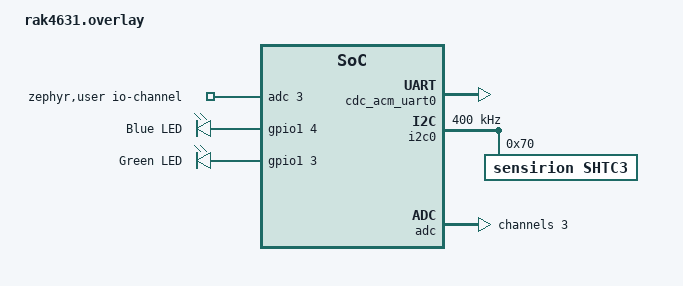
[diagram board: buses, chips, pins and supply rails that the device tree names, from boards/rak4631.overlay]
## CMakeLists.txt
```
# SPDX-License-Identifier: Apache-2.0

cmake_minimum_required(VERSION 3.20.0)

find_package(Zephyr REQUIRED HINTS $ENV{ZEPHYR_BASE})
project(lorawan_otaa)

target_sources(app PRIVATE src/main.c
                           src/rak_adc.c
                           src/rak_lorawan.c)
target_sources_ifdef(CONFIG_BT_PERIPHERAL app PRIVATE src/rak_ble_peripheral.c)
target_sources_ifdef(CONFIG_BOARD_RAK3172 app PRIVATE src/rak_lp_console.c)
if(CONFIG_USE_SEGGER_RTT AND CONFIG_BOARD_RAK11720)
  target_sources(app PRIVATE src/rtt.c)
endif()

zephyr_include_directories(
    src
)
```

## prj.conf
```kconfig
CONFIG_GPIO=y
CONFIG_SPI=y
CONFIG_ADC=y
CONFIG_I2C=y
CONFIG_SENSOR=y
CONFIG_JSON_LIBRARY=y

CONFIG_MAIN_STACK_SIZE=2048
CONFIG_SYSTEM_WORKQUEUE_STACK_SIZE=2048
CONFIG_CBPRINTF_FP_SUPPORT=y
CONFIG_STDOUT_CONSOLE=y

# Lora
CONFIG_LORA=y
CONFIG_LORAWAN=y
# Select your region
# CONFIG_LORAMAC_REGION_AS923=y
# CONFIG_LORAMAC_REGION_AU915=y
# CONFIG_LORAMAC_REGION_CN470=y
# CONFIG_LORAMAC_REGION_CN779=y
# CONFIG_LORAMAC_REGION_EU433=y
# CONFIG_LORAMAC_REGION_KR920=y
# CONFIG_LORAMAC_REGION_IN865=y
# CONFIG_LORAMAC_REGION_RU864=y
# CONFIG_LORAMAC_REGION_US915=y
CONFIG_LORAMAC_REGION_EU868=y
CONFIG_LORAWAN_SERVICES=n
CONFIG_LORAWAN_NVM_SETTINGS=y

# NVS required to store LoRaWAN DevNonce
# as per LoRaWAN 1.0.4/1.1 Specifications.
CONFIG_FLASH=y
CONFIG_FLASH_MAP=y
CONFIG_NVS=y
CONFIG_SETTINGS=y

# Debug
CONFIG_DEBUG=y
CONFIG_DEBUG_THREAD_INFO=y
CONFIG_DEBUG_OPTIMIZATIONS=y
CONFIG_THREAD_MONITOR=y

# Logging
CONFIG_LOG=y
CONFIG_LOG_PRINTK=n
# Open following lines to
# use RTT logging for debug!!!
# CONFIG_USE_SEGGER_RTT=y
# CONFIG_LOG_BACKEND_RTT=y
# CONFIG_LOG_BACKEND_UART=n
```

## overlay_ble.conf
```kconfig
CONFIG_BT=y
CONFIG_BT_PERIPHERAL=y
CONFIG_BT_DEVICE_NAME="RAK"
CONFIG_BT_DEVICE_APPEARANCE=0
CONFIG_BT_GATT_CLIENT=y

# Bluetooth optimizations to allow larger data packets.
CONFIG_BT_RX_STACK_SIZE=2048
CONFIG_BT_L2CAP_TX_MTU=512
CONFIG_BT_BUF_ACL_RX_SIZE=502
CONFIG_BT_BUF_ACL_TX_SIZE=502

# Enable the Bluetooth mcumgr transport (unauthenticated).
# If you don't wanna use mcuboot at your project, please closing following flags.
CONFIG_MCUMGR_TRANSPORT_BT=y
CONFIG_MCUMGR_TRANSPORT_BT_CONN_PARAM_CONTROL=y
```

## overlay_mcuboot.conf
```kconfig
CONFIG_MCUMGR=y
CONFIG_NET_BUF=y
CONFIG_ZCBOR=y
CONFIG_CRC=y

# Enable flash operations.
CONFIG_FLASH=y
CONFIG_FLASH_MAP=y
CONFIG_IMG_MANAGER=y
CONFIG_STREAM_FLASH=y

# Enable most core commands.
CONFIG_MCUMGR_GRP_IMG=y
CONFIG_MCUMGR_GRP_OS=y

# Enable the storage erase command.
CONFIG_MCUMGR_GRP_ZBASIC=y
CONFIG_MCUMGR_GRP_ZBASIC_STORAGE_ERASE=y

# Enable the Shell mcumgr transport.
CONFIG_BASE64=y
CONFIG_CRC=y

# Enable the serial MCUmgr transport.
CONFIG_MCUMGR_TRANSPORT_UART=y

# Enable the BT MCUmgr transport.
# Close this line for RAK3172 board
CONFIG_MCUMGR_TRANSPORT_BT_REASSEMBLY=y

# Enable the mcumgr Packet Reassembly feature over Bluetooth and its configuration dependencies.
# MCUmgr buffer size is optimized to fit one SMP packet divided into five Bluetooth Write Commands,
# transmitted with the maximum possible MTU value: 498 bytes.
CONFIG_MCUMGR_TRANSPORT_NETBUF_SIZE=2475
CONFIG_MCUMGR_GRP_OS_MCUMGR_PARAMS=y
CONFIG_MCUMGR_TRANSPORT_WORKQUEUE_STACK_SIZE=4608

CONFIG_BOOTLOADER_MCUBOOT=y
```

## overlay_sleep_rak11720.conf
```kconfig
# Necessary options for low power consumption
CONFIG_PINCTRL=y
CONFIG_PM=y
CONFIG_PM_DEVICE=y
CONFIG_LOG=n
CONFIG_LOG_PRINTK=n
CONFIG_LOG_BACKEND_RTT=n
CONFIG_BOOT_BANNER=n
CONFIG_DEBUG=n
CONFIG_DEBUG_THREAD_INFO=n
CONFIG_DEBUG_OPTIMIZATIONS=n
CONFIG_THREAD_MONITOR=n
CONFIG_SERIAL=n
CONFIG_UART_INTERRUPT_DRIVEN=n
CONFIG_CONSOLE=n
CONFIG_UART_CONSOLE=n
CONFIG_RTT_CONSOLE=n
CONFIG_USB_DEVICE_STACK=n
CONFIG_STDOUT_CONSOLE=n
CONFIG_CBPRINTF_FP_SUPPORT=n
CONFIG_MCUMGR_TRANSPORT_UART=n
```

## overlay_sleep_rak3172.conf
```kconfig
# Necessary options for low power consumption
CONFIG_PINCTRL=y
CONFIG_PM=y
CONFIG_PM_DEVICE=y
CONFIG_PM_DEVICE_RUNTIME=y
CONFIG_PM_DEVICE_SYSTEM_MANAGED=n

# With lpuart, it is possible to enabled it
# without increasing idle current.
# Please close logging at your production code!!!
CONFIG_LOG=n
CONFIG_LOG_PRINTK=n
CONFIG_LOG_BACKEND_RTT=n
CONFIG_BOOT_BANNER=n
CONFIG_DEBUG=n
CONFIG_DEBUG_THREAD_INFO=n
CONFIG_DEBUG_OPTIMIZATIONS=n
CONFIG_THREAD_MONITOR=n
CONFIG_RTT_CONSOLE=n
CONFIG_USB_DEVICE_STACK=n
CONFIG_STDOUT_CONSOLE=n
CONFIG_CBPRINTF_FP_SUPPORT=n
```

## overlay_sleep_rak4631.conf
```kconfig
# Necessary options for low power consumption
CONFIG_PM_DEVICE=y

# With usb connection, it is possible to enabled it
# without increasing idle current.
# CONFIG_LOG=n
# CONFIG_LOG_PRINTK=n
# CONFIG_LOG_BACKEND_RTT=n
CONFIG_BOOT_BANNER=n
CONFIG_DEBUG=n
CONFIG_DEBUG_THREAD_INFO=n
CONFIG_DEBUG_OPTIMIZATIONS=n
CONFIG_THREAD_MONITOR=n
CONFIG_STDOUT_CONSOLE=n
CONFIG_CBPRINTF_FP_SUPPORT=n
# Open following flags to disable USB stack if you don't need!!!
# RAK4631 uses USB stack and it does not cause to
# increase on idle current.
# CONFIG_SERIAL=n
# CONFIG_UART_INTERRUPT_DRIVEN=n
# CONFIG_CONSOLE=n
# CONFIG_UART_CONSOLE=n
# CONFIG_RTT_CONSOLE=n
# CONFIG_USB_DEVICE_STACK=n
```

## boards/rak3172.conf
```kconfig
# The build won't fit on the partition allocated for it without size
# optimizations.
CONFIG_SIZE_OPTIMIZATIONS=y
```

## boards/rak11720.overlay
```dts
/ {
	zephyr,user {
		io-channels = <&adc0 8>; // P13
	};

	aliases {
		blue-led = &blue_led;
		green-led = &green_led;
		temp-sensor = &shtc3;
	};
};

&i2c2 {
	status = "okay";
	clock-frequency = <I2C_BITRATE_FAST>;
	shtc3: shtc3@70 {
		compatible = "sensirion,shtc3", "sensirion,shtcx";
		reg = <0x70>;
		measure-mode = "normal";
	};
};

&adc0 {
	status = "okay";
	compatible = "ambiq,adc";
	pinctrl-0 = <&adc0_default>;
	pinctrl-names = "default";
	#address-cells = <1>;
	#size-cells = <0>;
	channel@8 {
		reg = <8>;
		zephyr,gain = "ADC_GAIN_1";
		zephyr,reference = "ADC_REF_INTERNAL";
		zephyr,acquisition-time = <ADC_ACQ_TIME_DEFAULT>;
		zephyr,resolution = <12>;
	};
};

&pinctrl {
	adc0_default: adc0_default{
		group1 {
			pinmux = <ADCD0PSE8_P13>;
			drive-strength = "0.1";
		};
	};
};
```

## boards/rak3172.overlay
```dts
/ {
	zephyr,user {
		io-channels = <&adc1 2>; // PB3
	};

	chosen {
		zephyr,console = &lpuart1;
		zephyr,shell-uart = &lpuart1;
		zephyr,uart-mcumgr = &lpuart1;
	};

	aliases {
		blue-led = &blue_led;
		green-led = &green_led;
		temp-sensor = &shtc3;
	};
};

&usart1 {
	status = "disabled";
};

&usart2 {
	status = "disabled";
};

&lpuart1 {
	pinctrl-0 = <&lpuart1_tx_pa2 &lpuart1_rx_pa3>;
	pinctrl-names = "default";
	current-speed = <115200>;
	status = "okay";
};

&i2c2 {
	status = "okay";
	clock-frequency = <I2C_BITRATE_FAST>;
	shtc3: shtc3@70 {
		compatible = "sensirion,shtc3", "sensirion,shtcx";
		reg = <0x70>;
		measure-mode = "normal";
	};
};

&adc1 {
	status = "okay";
	#address-cells = <1>;
	#size-cells = <0>;
	st,adc-clock-source = <SYNC>;
	st,adc-prescaler = <4>;
	pinctrl-0 = <&adc_in2_pb3>;
	pinctrl-names = "default";
	channel@2 {
		reg = <2>;
		zephyr,gain = "ADC_GAIN_1";
		zephyr,reference = "ADC_REF_INTERNAL";
		zephyr,acquisition-time = <ADC_ACQ_TIME_MAX>;
		zephyr,resolution = <12>;
	};
};
```

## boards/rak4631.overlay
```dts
/ {
	chosen {
		zephyr,console = &cdc_acm_uart0;
		zephyr,uart-mcumgr = &cdc_acm_uart0;
	};

	zephyr,user {
		io-channels = <&adc 3>; // P0.05
	};

	aliases {
		blue-led = &blue_led;
		green-led = &green_led;
		temp-sensor = &shtc3;
	};

	leds {
		compatible = "gpio-leds";
		blue_led: led_2 {
			gpios = <&gpio1 4 GPIO_ACTIVE_HIGH>;
			label = "Blue LED";
		};
		green_led: led_1 {
			gpios = <&gpio1 3 GPIO_ACTIVE_HIGH>;
			label = "Green LED";
		};
	};
};

&reg1 {
	regulator-initial-mode = <NRF5X_REG_MODE_DCDC>;
};

&uart0 {
	status = "disabled";
};

&uart1 {
	status = "disabled";
};

&zephyr_udc0 {
	cdc_acm_uart0: cdc_acm_uart0 {
		compatible = "zephyr,cdc-acm-uart";
	};
};

&i2c0 {
	status = "okay";
	clock-frequency = <I2C_BITRATE_FAST>;
	shtc3: shtc3@70 {
		compatible = "sensirion,shtc3", "sensirion,shtcx";
		reg = <0x70>;
		measure-mode = "normal";
	};
};

&adc {
	status = "okay";
	#address-cells = <1>;
	#size-cells = <0>;
	channel@3 {
		reg = <3>;
		zephyr,gain = "ADC_GAIN_1_5";
		zephyr,reference = "ADC_REF_INTERNAL";
		zephyr,acquisition-time = <ADC_ACQ_TIME_DEFAULT>;
		zephyr,input-positive = <NRF_SAADC_AIN3>;
		zephyr,resolution = <12>;
	};
};
```

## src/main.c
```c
/*
 * LoRaWAN OTAA sample application
 *
 * SPDX-License-Identifier: Apache-2.0
 */


#include <zephyr/device.h>
#include <zephyr/kernel.h>
#include <zephyr/devicetree.h>
#include <zephyr/pm/device.h>
#include <zephyr/drivers/gpio.h>
#include <zephyr/settings/settings.h>

#include "rak_adc.h"
#include "rak_ble_peripheral.h"
#include "rak_lorawan.h"
#include "rak_lp_console.h"

#include <zephyr/logging/log.h>
LOG_MODULE_REGISTER(main, LOG_LEVEL_DBG);

#if !DT_HAS_COMPAT_STATUS_OKAY(sensirion_shtcx)
#error "No sensirion,shtcx compatible node found in the device tree"
#endif

/*
 * A build error on this line means your board is unsupported.
 * See the sample documentation for information on how to fix this.
 */
static const struct gpio_dt_spec led = GPIO_DT_SPEC_GET(DT_ALIAS(green_led), gpios);

#if defined(CONFIG_BOARD_RAK4631)
static void configure_uicr(void) {
	if ((NRF_UICR->REGOUT0 & UICR_REGOUT0_VOUT_Msk) !=
		(UICR_REGOUT0_VOUT_3V3 << UICR_REGOUT0_VOUT_Pos)) {
		NRF_NVMC->CONFIG = NVMC_CONFIG_WEN_Wen;
		while (NRF_NVMC->READY == NVMC_READY_READY_Busy){}

		NRF_UICR->REGOUT0 = (NRF_UICR->REGOUT0 & ~((uint32_t)UICR_REGOUT0_VOUT_Msk)) |
							(UICR_REGOUT0_VOUT_3V3 << UICR_REGOUT0_VOUT_Pos);

		NRF_NVMC->CONFIG = NVMC_CONFIG_WEN_Ren;
		while (NRF_NVMC->READY == NVMC_READY_READY_Busy){}

		LOG_INF("REGOUT0 is updated!");

		// System reset is needed to update UICR registers.
		NVIC_SystemReset();
	}
}
#endif

int main(void)
{
	int ret = -1;

#if defined(CONFIG_BOARD_RAK3172)
	rak_lp_console_init();
#endif

#if defined(CONFIG_BOARD_RAK4631)
	configure_uicr();
#endif

	if (!gpio_is_ready_dt(&led)) {
		LOG_ERR("LED is not ready!");
		return 0;
	}

#if defined(CONFIG_BT_PERIPHERAL)
	ret = rak_ble_peripheral_init();
	if (ret) {
		LOG_ERR("Failed to init ble peripheral: %d", ret);
	}
#endif

	gpio_pin_configure_dt(&led, GPIO_OUTPUT_ACTIVE);
	gpio_pin_set_dt(&led, 1); // ON
	k_msleep(1000);

	if (IS_ENABLED(CONFIG_SETTINGS)) {
		settings_load();
	}

	ret = rak_adc_init();
	if(ret != 0) {
		LOG_ERR("Failed to init adc: %d", ret);
		return 0;
	}

	ret = rak_lorawan_init();
	if(ret != 0) {
		LOG_ERR("Failed to start lorawan: %d", ret);
		return 0;
	}

	gpio_pin_set_dt(&led, 0); // OFF

	rak_lorawan_thread_start();

	LOG_INF("LoRaWAN OTAA example started @%s", CONFIG_BOARD);
	printk("LoRaWAN OTAA example started @%s\n", CONFIG_BOARD);

	return 0;
}
```

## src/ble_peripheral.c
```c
#include <stdio.h>

#include <zephyr/kernel.h>
#include <zephyr/device.h>

#include <zephyr/bluetooth/bluetooth.h>
#include <zephyr/bluetooth/hci.h>
#include <zephyr/bluetooth/conn.h>
#include <zephyr/bluetooth/gatt.h>

#include "ble_peripheral.h"

#include <zephyr/logging/log.h>
LOG_MODULE_REGISTER(ble_peripheral, LOG_LEVEL_INF);

#define DEVICE_NAME			CONFIG_BT_DEVICE_NAME
#define DEVICE_NAME_LEN		(sizeof(DEVICE_NAME) - 1)

#define BT_GAP_ADV_FAST_INT_MIN 1600  /* 1000 ms   */
#define BT_GAP_ADV_FAST_INT_MAX 1600  /* 1000 ms   */
/** Connectable advertising with @ref BT_LE_ADV_OPT_CONN */
#define BT_LE_ADV_CUSTOM BT_LE_ADV_PARAM(BT_LE_ADV_OPT_CONN, \
									BT_GAP_ADV_FAST_INT_MIN, \
									BT_GAP_ADV_FAST_INT_MAX, \
									NULL)		

/* Advertising data */
static const struct bt_data ad[] = {
	BT_DATA_BYTES(BT_DATA_FLAGS, BT_LE_AD_NO_BREDR),
	BT_DATA_BYTES(BT_DATA_SVC_DATA16,
				0xaa, 0xfe, /* Eddystone UUID */
				0x10, /* Eddystone-URL frame type */
				0x00, /* Calibrated Tx power at 0m */
				0x01, /* URL Scheme Prefix https://www. */
				'r', 'a', 'k', 
				'w', 'i', 'r', 'e', 'l', 'e', 's', 's',
				0x07 /* .com */
			)
};

/* Scan response data */
static const struct bt_data sd[] = {
	BT_DATA(BT_DATA_NAME_COMPLETE, DEVICE_NAME, DEVICE_NAME_LEN)
};

static void adv_stop_work_handler(struct k_work *work) {
	LOG_INF("Advertising stopped");
	bt_le_adv_stop();	
}
K_WORK_DELAYABLE_DEFINE(adv_stop_work, adv_stop_work_handler);

static void adv_start_work_handler(struct k_work *work) {
	bt_le_adv_stop();

	int err = bt_le_adv_start(BT_LE_ADV_CUSTOM, ad, ARRAY_SIZE(ad), sd, ARRAY_SIZE(sd));
	if (err) {
		LOG_ERR("Advertising failed to start: %d", err);
		return;
	}

	LOG_INF("Advertising successfully started");
	k_work_reschedule(&adv_stop_work, K_SECONDS(30));
}
K_WORK_DEFINE(adv_start_work, adv_start_work_handler);

static void mtu_updated(struct bt_conn *conn, uint16_t tx, uint16_t rx)
{
	LOG_INF("Updated MTU: TX: %d RX: %d bytes", tx, rx);
}

static struct bt_gatt_cb gatt_callbacks = {
	.att_mtu_updated = mtu_updated
};

static void connected(struct bt_conn *conn, uint8_t err)
{
	if (err) {
		LOG_ERR("Connection failed, err 0x%02x %s", err, bt_hci_err_to_str(err));
	} else {
		LOG_INF("Connected");
	}
}

static void disconnected(struct bt_conn *conn, uint8_t reason)
{
	LOG_INF("Disconnected, reason 0x%02x %s", reason, bt_hci_err_to_str(reason));
	k_work_submit(&adv_start_work);
}

BT_CONN_CB_DEFINE(conn_callbacks) = {
	.connected = connected,
	.disconnected = disconnected,
};

static void bt_ready_handler(int err) {
	if (err) {
		LOG_ERR("Ble peripheral init failed: %d", err);
		return;
	}
	
	bt_gatt_cb_register(&gatt_callbacks);
	k_work_submit(&adv_start_work);
}

int ble_peripheral_init(void) {
	int err = bt_enable(bt_ready_handler);
	if (err) {
		LOG_ERR("Bluetooth init failed: %d", err);
		return err;
	}

	return err;
}
```

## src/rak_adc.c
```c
#include <inttypes.h>
#include <stddef.h>
#include <stdint.h>
#include <stdio.h>
#include <math.h>

#include <zephyr/kernel.h>
#include <zephyr/device.h>
#include <zephyr/devicetree.h>
#include <zephyr/drivers/adc.h>

#include <zephyr/logging/log.h>
LOG_MODULE_REGISTER(rak_adc, LOG_LEVEL_DBG);

#if defined(CONFIG_BOARD_RAK3172)
double correction_ratio = 1.1;
#endif

#if defined(CONFIG_BOARD_RAK4631)
double correction_ratio = 1.1;
#endif

#if defined(CONFIG_BOARD_RAK11720)
double correction_ratio = (2.13) * (1.3);
#endif

#if !DT_NODE_EXISTS(DT_PATH(zephyr_user)) || \
	!DT_NODE_HAS_PROP(DT_PATH(zephyr_user), io_channels)
#error "No suitable devicetree overlay specified"
#endif

#define DT_SPEC_AND_COMMA(node_id, prop, idx) \
	ADC_DT_SPEC_GET_BY_IDX(node_id, idx),

/* Data of ADC io-channels specified in devicetree. */
static const struct adc_dt_spec adc_channel = ADC_DT_SPEC_GET(DT_PATH(zephyr_user));

static double vref = 0.0;
static uint8_t resolution = 0;
static uint16_t buf = 0;
static struct adc_sequence sequence = {
	.buffer = &buf,
	/* buffer size in bytes, not number of samples */
	.buffer_size = sizeof(buf),
#if defined(CONFIG_BOARD_RAK3172)
	.calibrate = true,
#endif
};

int rak_adc_init()
{
	int ret;

	/* Configure adc channel. */
	if (!adc_is_ready_dt(&adc_channel)) {
		LOG_ERR("ADC controller device %s not ready", adc_channel.dev->name);
		return -1;
	}

	ret = adc_channel_setup_dt(&adc_channel);
	if (ret < 0) {
		LOG_ERR("Failed to setup channel: %d", ret);
		return ret;
	}

	int32_t vref_mv = (int32_t)adc_ref_internal(adc_channel.dev);
	enum adc_gain gain = adc_channel.channel_cfg.gain;
	adc_gain_invert(gain, &vref_mv);
	vref = (double) (vref_mv/1000.0);
	resolution = adc_channel.resolution;

	LOG_INF("ADC Vref: %d", vref_mv);
	LOG_INF("ADC Resolution: %d", resolution);

	(void)adc_sequence_init_dt(&adc_channel, &sequence);

	return ret;
}

int rak_adc_sample(double *value) {
	int ret = -1;
	int32_t val;


	ret = adc_read_dt(&adc_channel, &sequence);
	if (ret < 0) {
		LOG_ERR("Failed to read: %d", ret);
		return ret;
	}

	val = (int32_t)buf;
	LOG_DBG("ADC: %"PRId32, val);

	/*
	If rak19007 board is used as a base board,
	- no battery, USB connected
		* meaningless value, you read the Vout of the TP4054 in none-charging mode
	- battery, USB connected
		* meaningless value, you read the charging voltage of the TP4054
	- battery, USB not connected
		* battery voltage reading

	Due to this, RTT logging is used, please do not connect your usb line
	to get correct ADC data!

	Please connect a lipo battery to your RAK19007 board!
	*/

	*value = correction_ratio * ((vref * (((double)val) / ((double) pow(2, resolution))) * (5.0)) / (3.0));
	return ret;
}
```

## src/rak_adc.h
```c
#ifndef RAK_ADC_H__
#define RAK_ADC_H__

int rak_adc_init();
int rak_adc_sample(double *value);

#endif
```

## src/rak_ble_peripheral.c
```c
#include <stdio.h>

#include <zephyr/kernel.h>
#include <zephyr/device.h>

#include <zephyr/bluetooth/bluetooth.h>
#include <zephyr/bluetooth/hci.h>
#include <zephyr/bluetooth/conn.h>
#include <zephyr/bluetooth/gatt.h>

#include "rak_ble_peripheral.h"

#include <zephyr/logging/log.h>
LOG_MODULE_REGISTER(ble_peripheral, LOG_LEVEL_INF);

#define DEVICE_NAME			CONFIG_BT_DEVICE_NAME
#define DEVICE_NAME_LEN		(sizeof(DEVICE_NAME) - 1)

#define BT_GAP_ADV_FAST_INT_MIN 1600  /* 1000 ms   */
#define BT_GAP_ADV_FAST_INT_MAX 1600  /* 1000 ms   */
/** Connectable advertising with @ref BT_LE_ADV_OPT_CONN */
#define BT_LE_ADV_CUSTOM BT_LE_ADV_PARAM(BT_LE_ADV_OPT_CONN, \
									BT_GAP_ADV_FAST_INT_MIN, \
									BT_GAP_ADV_FAST_INT_MAX, \
									NULL)

/* Advertising data */
static const struct bt_data ad[] = {
	BT_DATA_BYTES(BT_DATA_FLAGS, BT_LE_AD_NO_BREDR),
	BT_DATA_BYTES(BT_DATA_SVC_DATA16,
				0xaa, 0xfe, /* Eddystone UUID */
				0x10, /* Eddystone-URL frame type */
				0x00, /* Calibrated Tx power at 0m */
				0x01, /* URL Scheme Prefix https://www. */
				'r', 'a', 'k',
				'w', 'i', 'r', 'e', 'l', 'e', 's', 's',
				0x07 /* .com */
			)
};

/* Scan response data */
static const struct bt_data sd[] = {
	BT_DATA(BT_DATA_NAME_COMPLETE, DEVICE_NAME, DEVICE_NAME_LEN)
};

static void adv_stop_work_handler(struct k_work *work) {
	LOG_INF("Advertising stopped");
	bt_le_adv_stop();
}
K_WORK_DELAYABLE_DEFINE(adv_stop_work, adv_stop_work_handler);

static void adv_start_work_handler(struct k_work *work) {
	bt_le_adv_stop();

	int err = bt_le_adv_start(BT_LE_ADV_CUSTOM, ad, ARRAY_SIZE(ad), sd, ARRAY_SIZE(sd));
	if (err) {
		LOG_ERR("Advertising failed to start: %d", err);
		return;
	}

	LOG_INF("Advertising successfully started");
	k_work_reschedule(&adv_stop_work, K_SECONDS(30));
}
K_WORK_DEFINE(adv_start_work, adv_start_work_handler);

static void mtu_updated(struct bt_conn *conn, uint16_t tx, uint16_t rx)
{
	LOG_INF("Updated MTU: TX: %d RX: %d bytes", tx, rx);
}

static struct bt_gatt_cb gatt_callbacks = {
	.att_mtu_updated = mtu_updated
};

static void connected(struct bt_conn *conn, uint8_t err)
{
	if (err) {
		LOG_ERR("Connection failed, err 0x%02x %s", err, bt_hci_err_to_str(err));
	} else {
		LOG_INF("Connected");
	}
}

static void disconnected(struct bt_conn *conn, uint8_t reason)
{
	LOG_INF("Disconnected, reason 0x%02x %s", reason, bt_hci_err_to_str(reason));
	k_work_submit(&adv_start_work);
}

BT_CONN_CB_DEFINE(conn_callbacks) = {
	.connected = connected,
	.disconnected = disconnected,
};

static void bt_ready_handler(int err) {
	if (err) {
		LOG_ERR("Ble peripheral init failed: %d", err);
		return;
	}

	bt_gatt_cb_register(&gatt_callbacks);
	k_work_submit(&adv_start_work);
}

int rak_ble_peripheral_init(void) {
	int err = bt_enable(bt_ready_handler);
	if (err) {
		LOG_ERR("Bluetooth init failed: %d", err);
		return err;
	}

	return err;
}
```

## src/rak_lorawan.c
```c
#include <stdio.h>

#include <zephyr/device.h>
#include <zephyr/kernel.h>
#include <zephyr/drivers/sensor.h>
#include <zephyr/lorawan/lorawan.h>
#include <zephyr/data/json.h>
#include <zephyr/drivers/gpio.h>

#include "rak_adc.h"

#include <zephyr/logging/log.h>
LOG_MODULE_REGISTER(rak_lorawan, LOG_LEVEL_DBG);

#define TEST_BLINK 0

#if TEST_BLINK
/*
 * Get blue led dt
 */
static const struct gpio_dt_spec test_led = GPIO_DT_SPEC_GET(DT_ALIAS(blue_led), gpios);
#endif

/*
 * Get temp sensor devices
 */
static const struct device *temp_dev = DEVICE_DT_GET(DT_ALIAS(temp_sensor));

/*
 * Get LoRa device
 */
static const struct device *lora_dev = DEVICE_DT_GET(DT_ALIAS(lora0));

/* Customize based on network configuration */
#define LORAWAN_APP_KEY 	{ 0x2B, 0x7E, 0x15, 0x16, 0x28, 0xAE, 0xD2, 0xA6, \
							  0xAB, 0xF7, 0x15, 0x88, 0x09, 0xCF, 0x4F, 0x3C }
#define LORAWAN_DEV_EUI 	{ 0xDD, 0xEE, 0xAA, 0xDD, 0xBB, 0xEE, 0xEE, 0xFF }
#define LORAWAN_JOIN_EUI 	{ 0x00, 0x00, 0x00, 0x00, 0x00, 0x00, 0x00, 0x00 }

/* 1000 msec = 1 sec */
#define SLEEP_TIME_MS (3*60*1000)

#define LORAWAN_THREAD_STACKSIZE 4096
#define LORAWAN_THREAD_PRIORITY 10

struct publish_payload {
	int32_t temp;
	int32_t hum;
	int32_t batt;
};

static const struct json_obj_descr json_descr[] = {
	JSON_OBJ_DESCR_PRIM(struct publish_payload, temp, JSON_TOK_NUMBER),
	JSON_OBJ_DESCR_PRIM(struct publish_payload, hum, JSON_TOK_NUMBER),
	JSON_OBJ_DESCR_PRIM(struct publish_payload, batt, JSON_TOK_NUMBER),
};

int rak_lorawan_init() {
	int ret = 0;

#if TEST_BLINK
	if (!gpio_is_ready_dt(&test_led)) {
		LOG_ERR("LED is not ready!");
		return -1;
	}

	gpio_pin_configure_dt(&test_led, GPIO_OUTPUT_ACTIVE);
#endif

	if (!device_is_ready(temp_dev)) {
		LOG_ERR("%s: device not ready.", temp_dev->name);
		return -1;
	}

	if (!device_is_ready(lora_dev)) {
		LOG_ERR("%s: device not ready.", lora_dev->name);
		return -1;
	}

	ret = lorawan_start();
	if (ret < 0) {
		LOG_ERR("lorawan_start failed: %d", ret);
	}

	return ret;
}

static void lorawan_dl_callback(uint8_t port, uint8_t flags, int16_t rssi, int8_t snr, uint8_t len,
			const uint8_t *hex_data)
{
	LOG_INF("Port %d, Pending %d, RSSI %ddB, SNR %ddBm, Time %d", port,
		flags & LORAWAN_DATA_PENDING, rssi, snr, !!(flags & LORAWAN_TIME_UPDATED));
	if (hex_data) {
		LOG_HEXDUMP_INF(hex_data, len, "Payload: ");
	}
}

static void lorawan_datarate_changed(enum lorawan_datarate dr)
{
	uint8_t unused, max_size;

	lorawan_get_payload_sizes(&unused, &max_size);
	LOG_INF("New Datarate: DR_%d, Max Payload %d", dr, max_size);
}

void lorawan_thread_handler(void)
{
	static uint8_t json_buffer[256];
	struct lorawan_join_config join_cfg;
	uint8_t dev_eui[] = LORAWAN_DEV_EUI;
	uint8_t join_eui[] = LORAWAN_JOIN_EUI;
	uint8_t app_key[] = LORAWAN_APP_KEY;
	struct sensor_value temp, hum;
	double temp_val = 0.0, hum_val = 0.0;
	double batt_val = 0.0;
	int ret;

	struct lorawan_downlink_cb downlink_cb = {
		.port = LW_RECV_PORT_ANY,
		.cb = lorawan_dl_callback
	};

	lorawan_register_downlink_callback(&downlink_cb);
	lorawan_register_dr_changed_callback(lorawan_datarate_changed);

	join_cfg.mode = LORAWAN_ACT_OTAA;
	join_cfg.dev_eui = dev_eui;
	join_cfg.otaa.join_eui = join_eui;
	join_cfg.otaa.app_key = app_key;
	join_cfg.otaa.nwk_key = app_key;
	join_cfg.otaa.dev_nonce = 0u;

	LOG_INF("Joining network over OTAA");

	do {
		ret = lorawan_join(&join_cfg);
		if (ret < 0) {
			LOG_ERR("lorawan_join to network failed: %d", ret);
		}

		if (ret < 0) {
			LOG_INF("Waiting for retrying to join...");
			k_sleep(K_MSEC(5000));
		}
	} while (ret != 0);

	lorawan_enable_adr(true);

	LOG_INF("Joined network");

	while (1) {
		ret = sensor_sample_fetch(temp_dev);
		if (ret == 0) {
			ret = sensor_channel_get(temp_dev, SENSOR_CHAN_AMBIENT_TEMP,
						&temp);
		}
		if (ret == 0) {
			ret = sensor_channel_get(temp_dev, SENSOR_CHAN_HUMIDITY,
						&hum);
		}
		if (ret != 0) {
			temp_val = 0.0;
			hum_val = 0.0;
			LOG_ERR("SHTC3(RAK1901): failed: %d", ret);
		} else {
			temp_val = sensor_value_to_double(&temp);
			hum_val = sensor_value_to_double(&hum);
			LOG_INF("SHTC3(RAK1901): %.2f Cel ; %0.2f %%RH", temp_val, hum_val);
		}

		ret = rak_adc_sample(&batt_val);
		if (ret != 0) {
			batt_val = 0.0;
			LOG_ERR("ADC: failed: %d", ret);
		} else {
			LOG_INF("V_BAT = %"PRId32" mV", (int32_t) (batt_val*1000.0));
		}

		struct publish_payload pl = {.temp = (temp_val*1000.0),
									 .hum = (hum_val*1000.0),
									 .batt = (batt_val*1000.0)};

		ret = json_obj_encode_buf(json_descr, ARRAY_SIZE(json_descr), &pl, json_buffer, sizeof(json_buffer));
		if (ret != 0) {
			LOG_ERR("Failed to encode json: %d", ret);
		} else {
			LOG_INF("Data size: %d", strlen(json_buffer));
		}

		ret = lorawan_send(2, json_buffer, strlen(json_buffer),
						   LORAWAN_MSG_CONFIRMED);

		/*
		 * Note: The stack may return -EAGAIN if the provided data
		 * length exceeds the maximum possible one for the region and
		 * datarate. But since we are just sending the same data here,
		 * we'll just continue.
		 */
		if (ret < 0) {
			LOG_ERR("lorawan_send failed: %d", ret);
		} else {
			LOG_INF("Data sent!");
		}

#if TEST_BLINK
		gpio_pin_toggle_dt(&test_led);
#endif

		k_sleep(K_MSEC(SLEEP_TIME_MS));
	}
}
K_THREAD_DEFINE(lorawan_thread_id, LORAWAN_THREAD_STACKSIZE, lorawan_thread_handler, NULL, NULL, NULL,
		LORAWAN_THREAD_PRIORITY, 0, -1);

void rak_lorawan_thread_start() {
	k_thread_start(lorawan_thread_id);
}
```

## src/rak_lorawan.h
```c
#ifndef RAK_LORAWAN_H__
#define RAK_LORAWAN_H__

int rak_lorawan_init();
void rak_lorawan_thread_start();

#endif
```

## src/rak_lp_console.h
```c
#ifndef RAK_LP_CONSOLE_H__
#define RAK_LP_CONSOLE_H__

int rak_lp_console_init();

#endif
```
